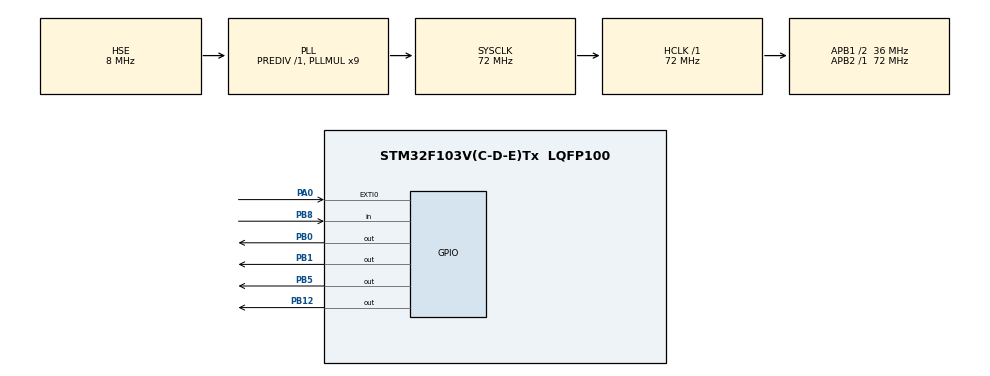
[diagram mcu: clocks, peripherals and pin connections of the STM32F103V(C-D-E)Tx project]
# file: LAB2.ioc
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Mcu.Family=STM32F1
Mcu.Name=STM32F103V(C-D-E)Tx
Mcu.Package=LQFP100
NVIC.EXTI0_IRQn=true\:0\:0\:false\:false\:true\:true\:true\:true
NVIC.PriorityGroup=NVIC_PRIORITYGROUP_4
OSC_IN.Mode=HSE-External-Oscillator
OSC_IN.Signal=RCC_OSC_IN
OSC_OUT.Mode=HSE-External-Oscillator
OSC_OUT.Signal=RCC_OSC_OUT
PA0-WKUP.Signal=GPXTI0
PB0.GPIO_Speed=GPIO_SPEED_FREQ_HIGH
PB0.PinState=GPIO_PIN_SET
PB0.Signal=GPIO_Output
PB1.GPIO_Speed=GPIO_SPEED_FREQ_HIGH
PB1.PinState=GPIO_PIN_SET
PB1.Signal=GPIO_Output
PB12.GPIO_Speed=GPIO_SPEED_FREQ_HIGH
PB12.Signal=GPIO_Output
PB5.GPIO_Speed=GPIO_SPEED_FREQ_HIGH
PB5.PinState=GPIO_PIN_SET
PB5.Signal=GPIO_Output
PB8.Signal=GPIO_Input
PC14-OSC32_IN.Mode=LSE-External-Oscillator
PC14-OSC32_IN.Signal=RCC_OSC32_IN
PC15-OSC32_OUT.Mode=LSE-External-Oscillator
PC15-OSC32_OUT.Signal=RCC_OSC32_OUT
ProjectManager.HeapSize=0x200
ProjectManager.StackSize=0x400
ProjectManager.TargetToolchain=STM32CubeIDE
RCC.AHBFreq_Value=72000000
RCC.APB1CLKDivider=RCC_HCLK_DIV2
RCC.APB1Freq_Value=36000000
RCC.APB1TimFreq_Value=72000000
RCC.APB2Freq_Value=72000000
RCC.APB2TimFreq_Value=72000000
RCC.HCLKFreq_Value=72000000
RCC.PLLMUL=RCC_PLL_MUL9
RCC.PLLSourceVirtual=RCC_PLLSOURCE_HSE
RCC.SYSCLKFreq_VALUE=72000000
RCC.SYSCLKSource=RCC_SYSCLKSOURCE_PLLCLK
RCC.USBFreq_Value=72000000
VP_SYS_VS_ND.Mode=No_Debug
board=custom

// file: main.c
/* USER CODE BEGIN Header */
/**
  ******************************************************************************
  * @file           : main.c
  * @brief          : Main program body
  ******************************************************************************
  * @attention
  *
  * Copyright (c) 2026 STMicroelectronics.
  * All rights reserved.
  *
  * This software is licensed under terms that can be found in the LICENSE file
  * in the root directory of this software component.
  * If no LICENSE file comes with this software, it is provided AS-IS.
  *
  ******************************************************************************
  */
/* USER CODE END Header */
#include "main.h"

/* USER CODE BEGIN PV */
uint8_t color_state =0;
uint8_t flag=0;
/* USER CODE END PV */

void SystemClock_Config(void);
static void MX_GPIO_Init(void);

int main(void)
{

  /* MCU Configuration--------------------------------------------------------*/

  /* Reset of all peripherals, Initializes the Flash interface and the Systick. */
  HAL_Init();

  /* Configure the system clock */
  SystemClock_Config();

  /* Initialize all configured peripherals */
  MX_GPIO_Init();

  /* Infinite loop */
  while (1)
  {

	/* USER CODE BEGIN 3 */

	  GPIO_PinState dummy = HAL_GPIO_ReadPin(GPIOB, GPIO_PIN_8);
	  if(dummy==GPIO_PIN_SET){
		  flag=0;
	  }
	  if((dummy==GPIO_PIN_RESET)&&(flag==0)){
		  flag=1;
		  color_state = (color_state+1)%3;

		  HAL_GPIO_WritePin(GPIOB, GPIO_PIN_5 | GPIO_PIN_0 | GPIO_PIN_1, GPIO_PIN_SET);

		  switch(color_state){
		  case 0://blue
			  HAL_GPIO_WritePin(GPIOB, GPIO_PIN_1, GPIO_PIN_RESET);
			  break;
		  case 1:
			  HAL_GPIO_WritePin(GPIOB, GPIO_PIN_5, GPIO_PIN_RESET);
			  break;
		  case 2:
			  HAL_GPIO_WritePin(GPIOB, GPIO_PIN_0, GPIO_PIN_RESET);
			  break;
		  }

	  }
  }
  /* USER CODE END 3 */
}

void SystemClock_Config(void)
{
  RCC_OscInitTypeDef RCC_OscInitStruct = {0};
  RCC_ClkInitTypeDef RCC_ClkInitStruct = {0};

  /** Initializes the RCC Oscillators according to the specified parameters
  * in the RCC_OscInitTypeDef structure.
  */
  RCC_OscInitStruct.OscillatorType = RCC_OSCILLATORTYPE_HSE;
  RCC_OscInitStruct.HSEState = RCC_HSE_ON;
  RCC_OscInitStruct.HSEPredivValue = RCC_HSE_PREDIV_DIV1;
  RCC_OscInitStruct.HSIState = RCC_HSI_ON;
  RCC_OscInitStruct.PLL.PLLState = RCC_PLL_ON;
  RCC_OscInitStruct.PLL.PLLSource = RCC_PLLSOURCE_HSE;
  RCC_OscInitStruct.PLL.PLLMUL = RCC_PLL_MUL9;
  if (HAL_RCC_OscConfig(&RCC_OscInitStruct) != HAL_OK)
  {
    Error_Handler();
  }

  /** Initializes the CPU, AHB and APB buses clocks
  */
  RCC_ClkInitStruct.ClockType = RCC_CLOCKTYPE_HCLK|RCC_CLOCKTYPE_SYSCLK
                              |RCC_CLOCKTYPE_PCLK1|RCC_CLOCKTYPE_PCLK2;
  RCC_ClkInitStruct.SYSCLKSource = RCC_SYSCLKSOURCE_PLLCLK;
  RCC_ClkInitStruct.AHBCLKDivider = RCC_SYSCLK_DIV1;
  RCC_ClkInitStruct.APB1CLKDivider = RCC_HCLK_DIV2;
  RCC_ClkInitStruct.APB2CLKDivider = RCC_HCLK_DIV1;

  if (HAL_RCC_ClockConfig(&RCC_ClkInitStruct, FLASH_LATENCY_2) != HAL_OK)
  {
    Error_Handler();
  }
}

static void MX_GPIO_Init(void)
{
  GPIO_InitTypeDef GPIO_InitStruct = {0};

  /* GPIO Ports Clock Enable */
  __HAL_RCC_GPIOC_CLK_ENABLE();
  __HAL_RCC_GPIOA_CLK_ENABLE();
  __HAL_RCC_GPIOB_CLK_ENABLE();

  /*Configure GPIO pin Output Level */
  HAL_GPIO_WritePin(GPIOB, GPIO_PIN_0|GPIO_PIN_1|GPIO_PIN_5, GPIO_PIN_SET);

  /*Configure GPIO pin Output Level */
  HAL_GPIO_WritePin(GPIOB, GPIO_PIN_12, GPIO_PIN_RESET);

  /*Configure GPIO pin : PA0 */
  GPIO_InitStruct.Pin = GPIO_PIN_0;
  GPIO_InitStruct.Mode = GPIO_MODE_IT_RISING;
  GPIO_InitStruct.Pull = GPIO_NOPULL;
  HAL_GPIO_Init(GPIOA, &GPIO_InitStruct);

  /*Configure GPIO pins : PB0 PB1 PB12 PB5 */
  GPIO_InitStruct.Pin = GPIO_PIN_0|GPIO_PIN_1|GPIO_PIN_12|GPIO_PIN_5;
  GPIO_InitStruct.Mode = GPIO_MODE_OUTPUT_PP;
  GPIO_InitStruct.Pull = GPIO_NOPULL;
  GPIO_InitStruct.Speed = GPIO_SPEED_FREQ_HIGH;
  HAL_GPIO_Init(GPIOB, &GPIO_InitStruct);

  /*Configure GPIO pin : PB8 */
  GPIO_InitStruct.Pin = GPIO_PIN_8;
  GPIO_InitStruct.Mode = GPIO_MODE_INPUT;
  GPIO_InitStruct.Pull = GPIO_NOPULL;
  HAL_GPIO_Init(GPIOB, &GPIO_InitStruct);

  /* EXTI interrupt init*/
  HAL_NVIC_SetPriority(EXTI0_IRQn, 0, 0);
  HAL_NVIC_EnableIRQ(EXTI0_IRQn);

}

void Error_Handler(void)
{
  __disable_irq();
  while (1)
  {
  }
}
